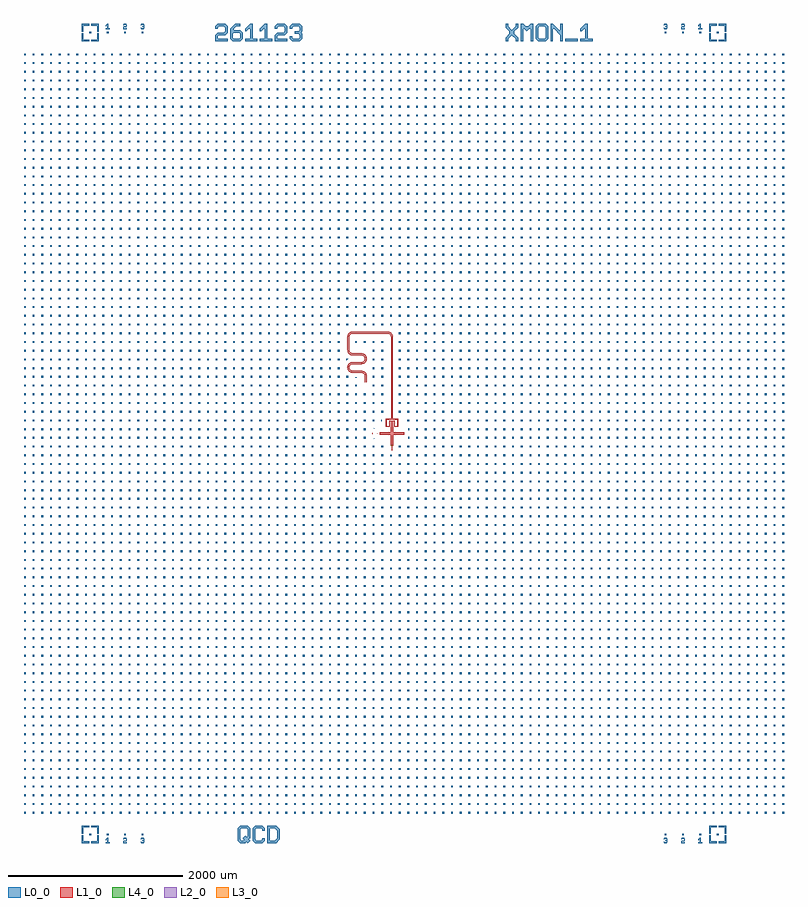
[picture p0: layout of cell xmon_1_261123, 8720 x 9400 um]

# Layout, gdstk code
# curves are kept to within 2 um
import gdstk
lib = gdstk.Library(unit=1e-6, precision=1e-09)
def R(c, l, rs):  # rectangles x0, y0, x1, y1
    for r in rs: c.add(gdstk.rectangle(r[:2], r[2:], *l))
def A(c, l, x, y, w, h, nx, ny, dx, dy):  # array of equal rectangles
    R(c, l, [(x+i*dx, y+j*dy, x+i*dx+w, y+j*dy+h) for i in range(nx) for j in range(ny)])
def P(c, l, *ps):  # polygons
    for p in ps: c.add(gdstk.Polygon(p, *l))
L0_0 = (0, 0)
L1_0 = (1, 0)
L2_0 = (2, 0)
L3_0 = (3, 0)
L4_0 = (4, 0)

xmon_1_261123 = lib.new_cell('xmon_1_261123')
A(xmon_1_261123, L0_0, -3610, -4610, 20, 20, 4, 2, 200, 9200)
A(xmon_1_261123, L0_0, 2990, -4610, 20, 20, 4, 2, 200, 9200)
A(xmon_1_261123, L0_0, -4360, -4360, 20, 20, 88, 41, 100, 100)
A(xmon_1_261123, L0_0, -4360, -260, 20, 20, 42, 2, 100, 100)
A(xmon_1_261123, L0_0, -60, -260, 20, 20, 45, 2, 100, 100)
A(xmon_1_261123, L0_0, -4360, -60, 20, 20, 40, 2, 100, 100)
A(xmon_1_261123, L0_0, 140, -60, 20, 20, 43, 2, 100, 100)
A(xmon_1_261123, L0_0, -4360, 140, 20, 20, 41, 1, 100, 0)
A(xmon_1_261123, L0_0, 40, 140, 20, 20, 44, 1, 100, 0)
A(xmon_1_261123, L0_0, -4360, 240, 20, 20, 42, 3, 100, 100)
A(xmon_1_261123, L0_0, -60, 240, 20, 20, 45, 10, 100, 100)
A(xmon_1_261123, L0_0, -4360, 540, 20, 20, 39, 1, 100, 0)
A(xmon_1_261123, L0_0, -360, 540, 20, 20, 1, 5, 0, 100)
A(xmon_1_261123, L0_0, -260, 540, 20, 20, 1, 5, 0, 100)
A(xmon_1_261123, L0_0, -4360, 640, 20, 20, 37, 6, 100, 100)
A(xmon_1_261123, L0_0, -560, 1040, 20, 20, 4, 1, 100, 0)
A(xmon_1_261123, L0_0, -4360, 1240, 20, 20, 88, 32, 100, 100)
R(xmon_1_261123, L0_0, [(-160,-260,-140,-243), (50,-60,60,-40), (50,40,60,60), (-260,140,-258,160), (-560,640,-540,647), (1852.381,4500,1995.238,4528.571)])
P(xmon_1_261123, L0_0, [(3610,4500),(3610,4520),(3680,4520),(3680,4590),(3700,4590),(3700,4500)],
  [(3680,4610),(3680,4680),(3610,4680),(3610,4700),(3700,4700),(3700,4610)],
  [(3500,4610),(3500,4700),(3590,4700),(3590,4680),(3520,4680),(3520,4610)],
  [(3500,4500),(3500,4590),(3520,4590),(3520,4520),(3590,4520),(3590,4500)],
  [(3378.572,4640),(3378.572,4648.571),(3395.715,4648.571),(3395.715,4682.857),(3391.429,4682.857),(3382.858,4674.286),(3378.572,4674.286),(3378.572,4682.857),(3395.715,4700),(3404.286,4700),(3404.286,4648.571),(3421.429,4648.571),(3421.429,4640)],
  [(3178.572,4640),(3178.572,4661.429),(3187.143,4670),(3208.572,4670),(3212.858,4674.286),(3212.858,4687.143),(3208.572,4691.429),(3191.429,4691.429),(3187.143,4687.143),(3187.143,4682.857),(3178.572,4682.857),(3178.572,4691.429),(3187.143,4700),(3212.858,4700),(3221.429,4691.429),(3221.429,4670),(3212.858,4661.429),(3191.429,4661.429),(3187.143,4657.143),(3187.143,4648.571),(3221.429,4648.571),(3221.429,4640)],
  [(2987.143,4640),(2978.572,4648.571),(2978.572,4657.143),(2987.143,4657.143),(2987.143,4652.857),(2991.429,4648.571),(3008.572,4648.571),(3012.858,4652.857),(3012.858,4661.429),(3008.572,4665.714),(2995.715,4665.714),(2995.715,4674.286),(3008.572,4674.286),(3012.858,4678.571),(3012.858,4687.143),(3008.572,4691.429),(2991.429,4691.429),(2987.143,4687.143),(2987.143,4682.857),(2978.572,4682.857),(2978.572,4691.429),(2987.143,4700),(3012.858,4700),(3021.429,4691.429),(3021.429,4674.286),(3017.143,4670),(3021.429,4665.714),(3021.429,4648.571),(3012.858,4640)],
  [(1538.095,4500),(1509.524,4528.571),(1509.524,4671.428),(1538.095,4700),(1623.81,4700),(1652.381,4671.428),(1652.381,4600),(1623.81,4600),(1623.81,4657.143),(1609.524,4671.428),(1552.381,4671.428),(1538.095,4657.143),(1538.095,4542.857),(1552.381,4528.571),(1609.524,4528.571),(1623.81,4542.857),(1623.81,4600),(1652.381,4600),(1652.381,4528.571),(1623.81,4500)],
  [(2023.809,4500),(2023.809,4528.571),(2080.952,4528.571),(2080.952,4642.857),(2066.666,4642.857),(2038.095,4614.286),(2023.809,4614.286),(2023.809,4642.857),(2080.952,4700),(2109.523,4700),(2109.523,4528.571),(2166.666,4528.571),(2166.666,4500)],
  [(1680.952,4500),(1680.952,4700),(1709.523,4700),(1780.952,4628.571),(1795.238,4628.571),(1795.238,4700),(1823.809,4700),(1823.809,4500),(1795.238,4500),(1795.238,4571.429),(1723.809,4642.857),(1709.523,4642.857),(1709.523,4500)],
  [(1166.667,4500),(1166.667,4542.857),(1209.524,4585.714),(1209.524,4614.286),(1166.667,4657.143),(1166.667,4700),(1195.238,4700),(1195.238,4671.428),(1238.096,4628.571),(1280.953,4671.428),(1280.953,4700),(1309.524,4700),(1309.524,4657.143),(1266.667,4614.286),(1266.667,4585.714),(1309.524,4542.857),(1309.524,4500),(1280.953,4500),(1280.953,4528.571),(1238.096,4571.429),(1195.238,4528.571),(1195.238,4500)],
  [(1338.096,4500),(1338.096,4700),(1366.667,4700),(1395.239,4671.428),(1423.81,4671.428),(1452.382,4700),(1480.953,4700),(1480.953,4500),(1452.382,4500),(1452.382,4642.857),(1438.096,4642.857),(1409.525,4614.286),(1380.953,4642.857),(1366.667,4642.857),(1366.667,4500)],
  [(-1652.381,4500),(-1652.381,4528.571),(-1595.238,4528.571),(-1595.238,4642.857),(-1609.524,4642.857),(-1638.095,4614.286),(-1652.381,4614.286),(-1652.381,4642.857),(-1595.238,4700),(-1566.667,4700),(-1566.667,4528.571),(-1509.524,4528.571),(-1509.524,4500)],
  [(-1480.953,4500),(-1480.953,4571.429),(-1452.382,4600),(-1380.953,4600),(-1366.667,4614.286),(-1366.667,4657.143),(-1380.953,4671.428),(-1438.096,4671.428),(-1452.382,4657.143),(-1452.382,4642.857),(-1480.953,4642.857),(-1480.953,4671.428),(-1452.382,4700),(-1366.667,4700),(-1338.096,4671.428),(-1338.096,4600),(-1366.667,4571.429),(-1438.096,4571.429),(-1452.382,4557.143),(-1452.382,4528.571),(-1338.096,4528.571),(-1338.096,4500)],
  [(-1280.953,4500),(-1309.524,4528.571),(-1309.524,4557.143),(-1280.953,4557.143),(-1280.953,4542.857),(-1266.667,4528.571),(-1209.524,4528.571),(-1195.238,4542.857),(-1195.238,4571.429),(-1209.524,4585.714),(-1252.381,4585.714),(-1252.381,4614.286),(-1209.524,4614.286),(-1195.238,4628.571),(-1195.238,4657.143),(-1209.524,4671.428),(-1266.667,4671.428),(-1280.953,4657.143),(-1280.953,4642.857),(-1309.524,4642.857),(-1309.524,4671.428),(-1280.953,4700),(-1195.238,4700),(-1166.667,4671.428),(-1166.667,4614.286),(-1180.953,4600),(-1166.667,4585.714),(-1166.667,4528.571),(-1195.238,4500)],
  [(-2166.666,4500),(-2166.666,4571.429),(-2138.095,4600),(-2066.666,4600),(-2052.38,4614.286),(-2052.38,4657.143),(-2066.666,4671.428),(-2123.809,4671.428),(-2138.095,4657.143),(-2138.095,4642.857),(-2166.666,4642.857),(-2166.666,4671.428),(-2138.095,4700),(-2052.38,4700),(-2023.809,4671.428),(-2023.809,4600),(-2052.38,4571.429),(-2123.809,4571.429),(-2138.095,4557.143),(-2138.095,4528.571),(-2023.809,4528.571),(-2023.809,4500)],
  [(-1966.667,4500),(-1995.238,4528.571),(-1995.238,4642.857),(-1938.095,4700),(-1880.952,4700),(-1880.952,4671.428),(-1923.809,4671.428),(-1952.381,4642.857),(-1952.381,4628.571),(-1880.952,4628.571),(-1852.381,4600),(-1952.381,4600),(-1966.667,4585.714),(-1966.667,4542.857),(-1952.381,4528.571),(-1895.238,4528.571),(-1880.952,4542.857),(-1880.952,4585.714),(-1895.238,4600),(-1852.381,4600),(-1852.381,4528.571),(-1880.952,4500)],
  [(-1823.809,4500),(-1823.809,4528.571),(-1766.666,4528.571),(-1766.666,4642.857),(-1780.952,4642.857),(-1809.523,4614.286),(-1823.809,4614.286),(-1823.809,4642.857),(-1766.666,4700),(-1738.095,4700),(-1738.095,4528.571),(-1680.952,4528.571),(-1680.952,4500)],
  [(-3012.858,4640),(-3021.429,4648.571),(-3021.429,4657.143),(-3012.858,4657.143),(-3012.858,4652.857),(-3008.572,4648.571),(-2991.429,4648.571),(-2987.143,4652.857),(-2987.143,4661.429),(-2991.429,4665.714),(-3004.286,4665.714),(-3004.286,4674.286),(-2991.429,4674.286),(-2987.143,4678.571),(-2987.143,4687.143),(-2991.429,4691.429),(-3008.572,4691.429),(-3012.858,4687.143),(-3012.858,4682.857),(-3021.429,4682.857),(-3021.429,4691.429),(-3012.858,4700),(-2987.143,4700),(-2978.572,4691.429),(-2978.572,4674.286),(-2982.858,4670),(-2978.572,4665.714),(-2978.572,4648.571),(-2987.143,4640)],
  [(-3221.429,4640),(-3221.429,4661.429),(-3212.858,4670),(-3191.429,4670),(-3187.143,4674.286),(-3187.143,4687.143),(-3191.429,4691.429),(-3208.572,4691.429),(-3212.858,4687.143),(-3212.858,4682.857),(-3221.429,4682.857),(-3221.429,4691.429),(-3212.858,4700),(-3187.143,4700),(-3178.572,4691.429),(-3178.572,4670),(-3187.143,4661.429),(-3208.572,4661.429),(-3212.858,4657.143),(-3212.858,4648.571),(-3178.572,4648.571),(-3178.572,4640)],
  [(-3520,4610),(-3520,4680),(-3590,4680),(-3590,4700),(-3500,4700),(-3500,4610)],
  [(-3421.429,4640),(-3421.429,4648.571),(-3404.286,4648.571),(-3404.286,4682.857),(-3408.572,4682.857),(-3417.143,4674.286),(-3421.429,4674.286),(-3421.429,4682.857),(-3404.286,4700),(-3395.715,4700),(-3395.715,4648.571),(-3378.572,4648.571),(-3378.572,4640)],
  [(-3700,4610),(-3700,4700),(-3610,4700),(-3610,4680),(-3680,4680),(-3680,4610)],
  [(-3700,4500),(-3700,4590),(-3680,4590),(-3680,4520),(-3610,4520),(-3610,4500)],
  [(-3590,4500),(-3590,4520),(-3520,4520),(-3520,4590),(-3500,4590),(-3500,4500)],
  [(-440,958.087),(-441.072,958.645),(-444.344,960),(-440,960)],
  [(-660,640),(-660,660),(-640.009,660),(-640,659.995),(-640,640)],
  [(-660,842.499),(-660,860),(-640.009,860),(-640,859.995),(-640,856.005),(-643.526,854.169),(-651.695,848.964),(-659.376,843.071)],
  [(-341.178,54.5),(-349.639,60),(-340,60),(-340,54.5)],
  [(-349.639,-60),(-341.178,-54.5),(-340,-54.5),(-340,-60)],
  [(-3421.429,-4700),(-3421.429,-4691.429),(-3404.286,-4691.429),(-3404.286,-4657.143),(-3408.572,-4657.143),(-3417.143,-4665.714),(-3421.429,-4665.714),(-3421.429,-4657.143),(-3404.286,-4640),(-3395.715,-4640),(-3395.715,-4691.429),(-3378.572,-4691.429),(-3378.572,-4700)],
  [(-3520,-4590),(-3520,-4520),(-3590,-4520),(-3590,-4500),(-3500,-4500),(-3500,-4590)],
  [(-3700,-4700),(-3700,-4610),(-3680,-4610),(-3680,-4680),(-3610,-4680),(-3610,-4700)],
  [(-3700,-4590),(-3700,-4500),(-3610,-4500),(-3610,-4520),(-3680,-4520),(-3680,-4590)],
  [(-3590,-4700),(-3590,-4680),(-3520,-4680),(-3520,-4610),(-3500,-4610),(-3500,-4700)],
  [(-3221.429,-4700),(-3221.429,-4678.571),(-3212.858,-4670),(-3191.429,-4670),(-3187.143,-4665.714),(-3187.143,-4652.857),(-3191.429,-4648.571),(-3208.572,-4648.571),(-3212.858,-4652.857),(-3212.858,-4657.143),(-3221.429,-4657.143),(-3221.429,-4648.571),(-3212.858,-4640),(-3187.143,-4640),(-3178.572,-4648.571),(-3178.572,-4670),(-3187.143,-4678.571),(-3208.572,-4678.571),(-3212.858,-4682.857),(-3212.858,-4691.429),(-3178.572,-4691.429),(-3178.572,-4700)],
  [(-3012.858,-4700),(-3021.429,-4691.429),(-3021.429,-4682.857),(-3012.858,-4682.857),(-3012.858,-4687.143),(-3008.572,-4691.429),(-2991.429,-4691.429),(-2987.143,-4687.143),(-2987.143,-4678.571),(-2991.429,-4674.286),(-3004.286,-4674.286),(-3004.286,-4665.714),(-2991.429,-4665.714),(-2987.143,-4661.429),(-2987.143,-4652.857),(-2991.429,-4648.571),(-3008.572,-4648.571),(-3012.858,-4652.857),(-3012.858,-4657.143),(-3021.429,-4657.143),(-3021.429,-4648.571),(-3012.858,-4640),(-2987.143,-4640),(-2978.572,-4648.571),(-2978.572,-4665.714),(-2982.858,-4670),(-2978.572,-4674.286),(-2978.572,-4691.429),(-2987.143,-4700)],
  [(-1709.524,-4700),(-1738.095,-4671.429),(-1738.095,-4528.572),(-1709.524,-4500),(-1623.809,-4500),(-1595.238,-4528.572),(-1595.238,-4557.143),(-1623.809,-4557.143),(-1623.809,-4542.857),(-1638.095,-4528.572),(-1695.238,-4528.572),(-1709.524,-4542.857),(-1709.524,-4657.143),(-1695.238,-4671.429),(-1638.095,-4671.429),(-1623.809,-4657.143),(-1623.809,-4642.857),(-1595.238,-4642.857),(-1595.238,-4671.429),(-1623.809,-4700)],
  [(-1880.953,-4700),(-1909.524,-4671.429),(-1909.524,-4528.572),(-1880.953,-4500),(-1795.238,-4500),(-1766.667,-4528.572),(-1866.667,-4528.572),(-1880.953,-4542.857),(-1880.953,-4657.143),(-1866.667,-4671.429),(-1838.095,-4671.429),(-1838.095,-4657.143),(-1852.381,-4642.857),(-1823.81,-4614.286),(-1809.524,-4628.571),(-1795.238,-4628.571),(-1795.238,-4542.857),(-1809.524,-4528.572),(-1766.667,-4528.572),(-1766.667,-4642.857),(-1780.953,-4657.143),(-1766.667,-4671.429),(-1795.238,-4700),(-1809.524,-4685.714),(-1823.81,-4700)],
  [(-1566.667,-4700),(-1566.667,-4500),(-1466.667,-4500),(-1438.096,-4528.572),(-1538.096,-4528.572),(-1538.096,-4671.429),(-1480.953,-4671.429),(-1452.381,-4642.857),(-1452.381,-4557.143),(-1480.953,-4528.572),(-1438.096,-4528.572),(-1423.81,-4542.857),(-1423.81,-4657.143),(-1466.667,-4700)],
  [(3178.572,-4700),(3178.572,-4678.571),(3187.143,-4670),(3208.572,-4670),(3212.858,-4665.714),(3212.858,-4652.857),(3208.572,-4648.571),(3191.429,-4648.571),(3187.143,-4652.857),(3187.143,-4657.143),(3178.572,-4657.143),(3178.572,-4648.571),(3187.143,-4640),(3212.858,-4640),(3221.429,-4648.571),(3221.429,-4670),(3212.858,-4678.571),(3191.429,-4678.571),(3187.143,-4682.857),(3187.143,-4691.429),(3221.429,-4691.429),(3221.429,-4700)],
  [(2987.143,-4700),(2978.572,-4691.429),(2978.572,-4682.857),(2987.143,-4682.857),(2987.143,-4687.143),(2991.429,-4691.429),(3008.572,-4691.429),(3012.858,-4687.143),(3012.858,-4678.571),(3008.572,-4674.286),(2995.715,-4674.286),(2995.715,-4665.714),(3008.572,-4665.714),(3012.858,-4661.429),(3012.858,-4652.857),(3008.572,-4648.571),(2991.429,-4648.571),(2987.143,-4652.857),(2987.143,-4657.143),(2978.572,-4657.143),(2978.572,-4648.571),(2987.143,-4640),(3012.858,-4640),(3021.429,-4648.571),(3021.429,-4665.714),(3017.143,-4670),(3021.429,-4674.286),(3021.429,-4691.429),(3012.858,-4700)],
  [(3500,-4700),(3500,-4610),(3520,-4610),(3520,-4680),(3590,-4680),(3590,-4700)],
  [(3500,-4590),(3500,-4500),(3590,-4500),(3590,-4520),(3520,-4520),(3520,-4590)],
  [(3610,-4700),(3610,-4680),(3680,-4680),(3680,-4610),(3700,-4610),(3700,-4700)],
  [(3378.572,-4700),(3378.572,-4691.429),(3395.715,-4691.429),(3395.715,-4657.143),(3391.429,-4657.143),(3382.858,-4665.714),(3378.572,-4665.714),(3378.572,-4657.143),(3395.715,-4640),(3404.286,-4640),(3404.286,-4691.429),(3421.429,-4691.429),(3421.429,-4700)],
  [(3680,-4590),(3680,-4520),(3610,-4520),(3610,-4500),(3700,-4500),(3700,-4590)])
R(xmon_1_261123, L1_0, [(-142.5,-183,-139.5,-139), (-136.5,-183,-133.5,-139), (-144.5,-142,-142.5,-139), (-136.5,-139,-133.5,-136), (-148,-136,-128,-133), (-356,-4.5,-306,-1.5), (-309,-1.5,-306,1.5), (-356,1.5,-306,4.5), (-149,158,-143,1108), (-133,158,-127,1108), (-449,586.319,-443,658), (-433,586.319,-427,658), (-588,697,-488,703), (-588,713,-488,719), (-588,797,-488,803), (-588,813,-488,819), (-588,897,-488,903), (-588,913,-488,919), (-649,958,-643,1108), (-633,958,-627,1108), (-588,1147,-188,1153), (-588,1163,-188,1169)])
P(xmon_1_261123, L1_0, [(-150,-130),(-150,-12),(-276,-12),(-276,12),(-150,12),(-150,138),(-126,138),(-126,12),(0,12),(0,-12),(-126,-12),(-126,-130),(-134,-130),(-134,-4),(-8,-4),(-8,4),(-134,4),(-134,130),(-142,130),(-142,4),(-268,4),(-268,-4),(-142,-4),(-142,-130)],
  [(-150,-138),(-150,-130),(-139.5,-130),(-139.5,-131.7),(-136.5,-131.7),(-136.5,-130),(-126,-130),(-126,-138),(-133.6,-138),(-133.6,-136.3),(-142.4,-136.3),(-142.4,-138)],
  [(-149,-193),(-142.5,-183),(-139.5,-183),(-143,-193)],
  [(-133,-193),(-136.5,-183),(-133.5,-183),(-127,-193)],
  [(-356,1.5),(-366,5),(-366,11),(-356,4.5)],
  [(-366,-11),(-366,-5),(-356,-1.5),(-356,-4.5)],
  [(-208,78),(-208,168),(-149,168),(-149,158),(-198,158),(-198,83),(-168,83),(-168,148),(-138,148),(-138,143),(-163,143),(-163,78)],
  [(-113,78),(-113,143),(-138,143),(-138,148),(-108,148),(-108,83),(-78,83),(-78,158),(-127,158),(-127,168),(-68,168),(-68,78)],
  [(-133,1108),(-133.836,1117.551),(-136.317,1126.811),(-140.369,1135.5),(-145.868,1143.353),(-156.453,1153.053),(-164.756,1157.847),(-173.765,1161.126),(-188,1163),(-188,1169),(-177.407,1168.073),(-162.22,1163.285),(-148.79,1154.729),(-141.271,1147.21),(-132.715,1133.78),(-127.927,1118.593),(-127,1108)],
  [(-149,1108),(-149.592,1114.772),(-151.352,1121.339),(-154.225,1127.5),(-158.124,1133.069),(-162.931,1137.876),(-171.518,1143.346),(-181.228,1146.408),(-188,1147),(-188,1153),(-176.353,1151.467),(-168.982,1148.784),(-162.189,1144.862),(-153.528,1136.925),(-147.216,1127.018),(-143.684,1115.814),(-143,1108)],
  [(-649,1108),(-648.073,1118.593),(-643.285,1133.78),(-637.968,1142.988),(-631.134,1151.134),(-622.988,1157.968),(-613.78,1163.285),(-598.593,1168.073),(-588,1169),(-588,1163),(-602.235,1161.126),(-611.244,1157.847),(-619.547,1153.053),(-626.891,1146.891),(-633.053,1139.547),(-637.847,1131.244),(-641.126,1122.235),(-643,1108)],
  [(-633,1108),(-631.467,1119.647),(-628.784,1127.018),(-624.862,1133.811),(-619.82,1139.82),(-613.811,1144.862),(-607.018,1148.784),(-599.647,1151.467),(-588,1153),(-588,1147),(-594.772,1146.408),(-601.339,1144.648),(-607.5,1141.775),(-615.577,1135.577),(-621.775,1127.5),(-624.648,1121.339),(-626.408,1114.772),(-627,1108)],
  [(-649,958),(-643,958),(-643,958),(-649,958)],
  [(-633,958),(-633,958),(-627,958),(-627,958)],
  [(-588,897),(-598.593,897.927),(-613.78,902.715),(-622.988,908.032),(-631.134,914.866),(-637.968,923.012),(-643.285,932.22),(-648.073,947.407),(-649,958),(-643,958),(-641.126,943.765),(-637.847,934.756),(-633.053,926.453),(-626.891,919.109),(-619.547,912.947),(-611.244,908.153),(-602.235,904.874),(-588,903)],
  [(-588,913),(-599.647,914.533),(-607.018,917.216),(-613.811,921.138),(-619.82,926.18),(-624.862,932.189),(-628.784,938.982),(-631.467,946.353),(-633,958),(-627,958),(-626.408,951.228),(-624.648,944.661),(-621.775,938.5),(-615.577,930.423),(-607.5,924.225),(-601.339,921.352),(-594.772,919.592),(-588,919)],
  [(-433,858),(-433.836,867.551),(-436.317,876.811),(-440.369,885.5),(-445.868,893.353),(-456.453,903.053),(-464.756,907.847),(-473.765,911.126),(-488,913),(-488,919),(-477.407,918.073),(-462.22,913.285),(-448.79,904.729),(-441.271,897.21),(-432.715,883.78),(-427.927,868.593),(-427,858)],
  [(-449,858),(-449.592,864.772),(-451.352,871.339),(-454.225,877.5),(-458.124,883.069),(-462.931,887.876),(-471.518,893.346),(-481.228,896.408),(-488,897),(-488,903),(-476.353,901.467),(-468.982,898.784),(-462.189,894.862),(-453.528,886.925),(-447.216,877.018),(-443.684,865.814),(-443,858)],
  [(-438,858),(-438,858),(-438,858),(-438,858)],
  [(-438,858),(-438,858),(-438,858),(-438,858)],
  [(-488,797),(-488,803),(-473.765,804.874),(-464.756,808.153),(-456.453,812.947),(-449.109,819.109),(-442.947,826.453),(-438.153,834.756),(-434.874,843.765),(-433,858),(-427,858),(-427.927,847.407),(-432.715,832.22),(-438.032,823.012),(-444.866,814.866),(-453.012,808.032),(-462.22,802.715),(-477.407,797.927)],
  [(-488,813),(-488,819),(-481.228,819.592),(-474.661,821.352),(-468.5,824.225),(-460.423,830.423),(-454.225,838.5),(-451.352,844.661),(-449.592,851.228),(-449,858),(-443,858),(-444.533,846.353),(-447.216,838.982),(-451.138,832.189),(-456.18,826.18),(-462.189,821.138),(-468.982,817.216),(-476.353,814.533)],
  [(-649,758),(-648.073,768.593),(-643.285,783.78),(-637.968,792.988),(-631.134,801.134),(-622.988,807.968),(-613.78,813.285),(-598.593,818.073),(-588,819),(-588,813),(-602.235,811.126),(-611.244,807.847),(-619.547,803.053),(-626.891,796.891),(-633.053,789.547),(-637.847,781.244),(-641.126,772.235),(-643,758)],
  [(-633,758),(-631.467,769.647),(-628.784,777.018),(-624.862,783.811),(-619.82,789.82),(-613.811,794.862),(-607.018,798.784),(-599.647,801.467),(-588,803),(-588,797),(-594.772,796.408),(-601.339,794.648),(-607.5,791.775),(-615.577,785.577),(-621.775,777.5),(-624.648,771.339),(-626.408,764.772),(-627,758)],
  [(-638,758),(-638,758),(-638,758),(-638,758)],
  [(-638,758),(-638,758),(-638,758),(-638,758)],
  [(-588,697),(-598.593,697.927),(-613.78,702.715),(-622.988,708.032),(-631.134,714.866),(-637.968,723.012),(-643.285,732.22),(-648.073,747.407),(-649,758),(-643,758),(-641.126,743.765),(-637.847,734.756),(-633.053,726.453),(-626.891,719.109),(-619.547,712.947),(-611.244,708.153),(-602.235,704.874),(-588,703)],
  [(-588,713),(-599.647,714.533),(-607.018,717.216),(-613.811,721.138),(-619.82,726.18),(-624.862,732.189),(-628.784,738.982),(-631.467,746.353),(-633,758),(-627,758),(-626.408,751.228),(-624.648,744.661),(-621.775,738.5),(-615.577,730.423),(-607.5,724.225),(-601.339,721.352),(-594.772,719.592),(-588,719)],
  [(-433,658),(-433.836,667.551),(-436.317,676.811),(-440.369,685.5),(-445.868,693.353),(-456.453,703.053),(-464.756,707.847),(-473.765,711.126),(-488,713),(-488,719),(-477.407,718.073),(-462.22,713.285),(-448.79,704.729),(-441.271,697.21),(-432.715,683.78),(-427.927,668.593),(-427,658)],
  [(-449,658),(-449.592,664.772),(-451.352,671.339),(-454.225,677.5),(-458.124,683.069),(-462.931,687.876),(-471.518,693.346),(-481.228,696.408),(-488,697),(-488,703),(-476.353,701.467),(-468.982,698.784),(-462.189,694.862),(-453.528,686.925),(-447.216,677.018),(-443.684,665.814),(-443,658)])
R(xmon_1_261123, L2_0, [(-143.1,-137.3,-142.9,-130.7), (-133.1,-137.3,-132.9,-130.7), (-144.1,-132.4,-131.9,-132.2)])
R(xmon_1_261123, L3_0, [(-143.2,-138.1,-142.8,-137.1), (-133.2,-138.1,-132.8,-137.1), (-144.9,-132.5,-143.9,-132.1), (-132.1,-132.5,-131.1,-132.1), (-143.2,-130.9,-142.8,-129.9), (-133.2,-130.9,-132.8,-129.9)])
R(xmon_1_261123, L4_0, [(-143.6,-137.8,-140.9,-136.3), (-135.1,-137.8,-132.4,-136.3), (-138.75,-132.9,-137.25,-130.2)])

lib.write_gds('xmon_1_261123.gds')
